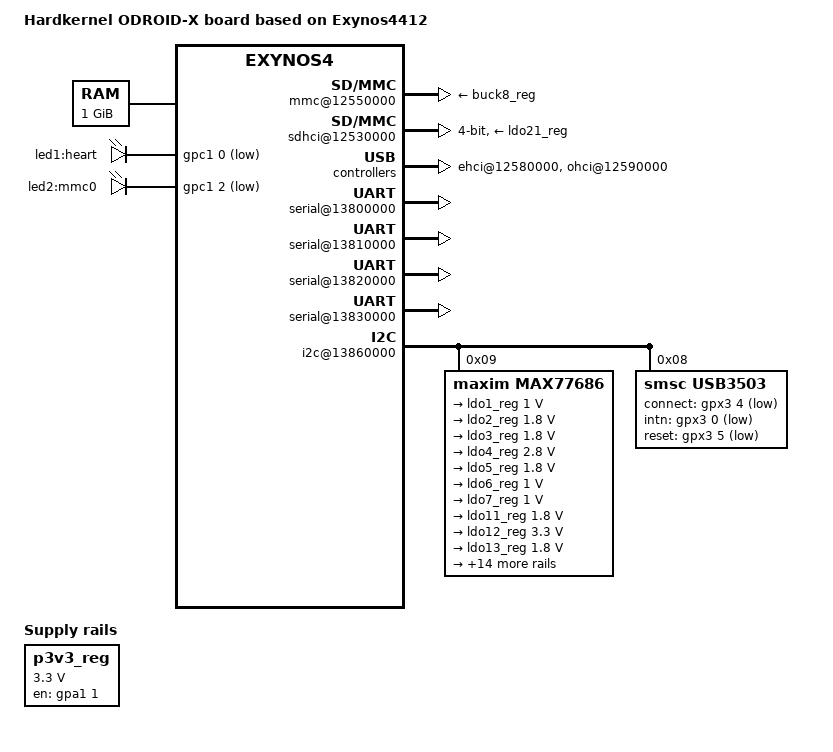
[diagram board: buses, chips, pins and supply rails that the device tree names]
/*
 * Hardkernel's Exynos4412 based ODROID-X board device tree source
 *
 * Copyright (c) 2012 Dongjin Kim <tobetter@gmail.com>
 *
 * Device tree source file for Hardkernel's ODROID-X board which is based on
 * Samsung's Exynos4412 SoC.
 *
 * This program is free software; you can redistribute it and/or modify
 * it under the terms of the GNU General Public License version 2 as
 * published by the Free Software Foundation.
*/

/dts-v1/;
#include "exynos4412.dtsi"

/ {
	model = "Hardkernel ODROID-X board based on Exynos4412";
	compatible = "hardkernel,odroid-x", "samsung,exynos4412", "samsung,exynos4";

	memory {
		reg = <0x40000000 0x40000000>;
	};

	chosen {
		bootargs = "root=/dev/mmcblk0p3 rw init=/sbin/init mem=1023M console=ttySAC1,115200N8 rootdelay=5 panic=5";
	};

	leds {
		compatible = "gpio-leds";
		led1 {
			label = "led1:heart";
			gpios = <&gpc1 0 1>;
			default-state = "on";
			linux,default-trigger = "heartbeat";
		};
		led2 {
			label = "led2:mmc0";
			gpios = <&gpc1 2 1>;
			default-state = "on";
			linux,default-trigger = "mmc0";
		};
	};

	mmc@12550000 {
		pinctrl-0 = <&sd4_clk &sd4_cmd &sd4_bus4 &sd4_bus8>;
		pinctrl-names = "default";
		vqmmc-supply = <&ldo20_reg>;
		vmmc-supply = <&buck8_reg>;
		status = "okay";

		num-slots = <1>;
		supports-highspeed;
		broken-cd;
		card-detect-delay = <200>;
		samsung,dw-mshc-ciu-div = <3>;
		samsung,dw-mshc-sdr-timing = <2 3>;
		samsung,dw-mshc-ddr-timing = <1 2>;

		slot@0 {
			reg = <0>;
			bus-width = <8>;
		};
	};

	regulators {
		compatible = "simple-bus";
		#address-cells = <1>;
		#size-cells = <0>;

		p3v3_reg: regulator_p3v3 {
			compatible = "regulator-fixed";
			regulator-name = "p3v3_reg";
			regulator-min-microvolt = <3300000>;
			regulator-max-microvolt = <3300000>;
			gpio = <&gpa1 1 0>;
			enable-active-high;
			regulator-always-on;
		};
	};

	rtc@10070000 {
		status = "okay";
	};

	fimd@11c00000 {
		pinctrl-0 = <&lcd_clk &lcd_data24>;
		pinctrl-names = "default";
		status = "okay";
	};

	display-timings {
		native-mode = <&timing0>;
		timing0: timing {
			clock-frequency = <500000>;
			hactive = <1366>;
			vactive = <768>;
			hfront-porch = <48>;
			hback-porch = <80>;
			hsync-len = <32>;
			vback-porch = <14>;
			vfront-porch = <3>;
			vsync-len = <5>;
			pixelclk-active = <1>;
			hsync-active = <1>;
			vsync-active = <1>;
			de-active = <0>;
		};
	};

	sdhci@12530000 {
		bus-width = <4>;
		pinctrl-0 = <&sd2_clk &sd2_cmd &sd2_cd &sd2_bus4>;
		pinctrl-names = "default";
		vqmmc-supply = <&ldo4_reg>;
		vmmc-supply = <&ldo21_reg>;
		status = "okay";
	};

	ehci@12580000 {
		status = "okay";
	};

	ohci@12590000 {
		status = "okay";
	};

	serial@13800000 {
		status = "okay";
	};

	serial@13810000 {
		status = "okay";
	};

	serial@13820000 {
		status = "okay";
	};

	serial@13830000 {
		status = "okay";
	};

	firmware@0x0204F000 {
		compatible = "samsung,secure-firmware";
		reg = <0x0204f0000 0x1000>;
	};

	fixed-rate-clocks {
		xxti {
			compatible = "samsung,clock-xxti";
			clock-frequency = <0>;
		};

		xusbxti {
			compatible = "samsung,clock-xusbxti";
			clock-frequency = <24000000>;
		};
	};

	i2c@13860000 {
		pinctrl-0 = <&i2c0_bus>;
		pinctrl-names = "default";
		status = "okay";

		max77686: pmic@09 {
			compatible = "maxim,max77686";
			reg = <0x09>;
			#clock-cells = <1>;

			voltage-regulators {
				ldo1_reg: LDO1 {
					regulator-name = "VDD_ALIVE_1.0V";
					regulator-min-microvolt = <1000000>;
					regulator-max-microvolt = <1000000>;
					regulator-always-on;
				};

				ldo2_reg: LDO2 {
					regulator-name = "VDDQ_M1_2_1.8V";
					regulator-min-microvolt = <1800000>;
					regulator-max-microvolt = <1800000>;
					regulator-always-on;
				};

				ldo3_reg: LDO3 {
					regulator-name = "VDDQ_EXT_1.8V";
					regulator-min-microvolt = <1800000>;
					regulator-max-microvolt = <1800000>;
					regulator-always-on;
				};

				ldo4_reg: LDO4 {
					regulator-name = "VDDQ_MMC2_2.8V";
					regulator-min-microvolt = <2800000>;
					regulator-max-microvolt = <2800000>;
					regulator-always-on;
					regulator-boot-on;
				};

				ldo5_reg: LDO5 {
					regulator-name = "VDDQ_MMC1_3_1.8V";
					regulator-min-microvolt = <1800000>;
					regulator-max-microvolt = <1800000>;
					regulator-always-on;
					regulator-boot-on;
				};

				ldo6_reg: LDO6 {
					regulator-name = "VDD10_MPLL_1.0V";
					regulator-min-microvolt = <1000000>;
					regulator-max-microvolt = <1000000>;
					regulator-always-on;
				};

				ldo7_reg: LDO7 {
					regulator-name = "VDD10_XPLL_1.0V";
					regulator-min-microvolt = <1000000>;
					regulator-max-microvolt = <1000000>;
					regulator-always-on;
				};

				ldo11_reg: LDO11 {
					regulator-name = "VDD18_ABB1_1.8V";
					regulator-min-microvolt = <1800000>;
					regulator-max-microvolt = <1800000>;
					regulator-always-on;
				};

				ldo12_reg: LDO12 {
					regulator-name = "VDD33_USB_3.3V";
					regulator-min-microvolt = <3300000>;
					regulator-max-microvolt = <3300000>;
					regulator-always-on;
					regulator-boot-on;
				};

				ldo13_reg: LDO13 {
					regulator-name = "VDDQ_C2C_W_1.8V";
					regulator-min-microvolt = <1800000>;
					regulator-max-microvolt = <1800000>;
					regulator-always-on;
					regulator-boot-on;
				};

				ldo14_reg: LDO14 {
					regulator-name = "VDD18_ABB0_2_1.8V";
					regulator-min-microvolt = <1800000>;
					regulator-max-microvolt = <1800000>;
					regulator-always-on;
					regulator-boot-on;
				};

				ldo15_reg: LDO15 {
					regulator-name = "VDD10_HSIC_1.0V";
					regulator-min-microvolt = <1000000>;
					regulator-max-microvolt = <1000000>;
					regulator-always-on;
					regulator-boot-on;
				};

				ldo16_reg: LDO16 {
					regulator-name = "VDD18_HSIC_1.8V";
					regulator-min-microvolt = <1800000>;
					regulator-max-microvolt = <1800000>;
					regulator-always-on;
					regulator-boot-on;
				};

				ldo20_reg: LDO20 {
					regulator-name = "LDO20_1.8V";
					regulator-min-microvolt = <1800000>;
					regulator-max-microvolt = <1800000>;
					regulator-boot-on;
				};

				ldo21_reg: LDO21 {
					regulator-name = "LDO21_3.3V";
					regulator-min-microvolt = <3300000>;
					regulator-max-microvolt = <3300000>;
				};

				ldo25_reg: LDO25 {
					regulator-name = "VDDQ_LCD_1.8V";
					regulator-min-microvolt = <1800000>;
					regulator-max-microvolt = <1800000>;
					regulator-always-on;
					regulator-boot-on;
				};

				buck1_reg: BUCK1 {
					regulator-name = "vdd_mif";
					regulator-min-microvolt = <1000000>;
					regulator-max-microvolt = <1000000>;
					regulator-always-on;
					regulator-boot-on;
				};

				buck2_reg: BUCK2 {
					regulator-name = "vdd_arm";
					regulator-min-microvolt = <900000>;
					regulator-max-microvolt = <1350000>;
					regulator-always-on;
					regulator-boot-on;
				};

				buck3_reg: BUCK3 {
					regulator-name = "vdd_int";
					regulator-min-microvolt = <1000000>;
					regulator-max-microvolt = <1000000>;
					regulator-always-on;
					regulator-boot-on;
				};

				buck4_reg: BUCK4 {
					regulator-name = "vdd_g3d";
					regulator-min-microvolt = <900000>;
					regulator-max-microvolt = <1100000>;
					regulator-microvolt-offset = <50000>;
				};

				buck5_reg: BUCK5 {
					regulator-name = "VDDQ_CKEM1_2_1.2V";
					regulator-min-microvolt = <1200000>;
					regulator-max-microvolt = <1200000>;
					regulator-always-on;
					regulator-boot-on;
				};

				buck6_reg: BUCK6 {
					regulator-name = "BUCK6_1.35V";
					regulator-min-microvolt = <1350000>;
					regulator-max-microvolt = <1350000>;
					regulator-always-on;
					regulator-boot-on;
				};

				buck7_reg: BUCK7 {
					regulator-name = "BUCK7_2.0V";
					regulator-min-microvolt = <2000000>;
					regulator-max-microvolt = <2000000>;
					regulator-always-on;
				};

				buck8_reg: BUCK8 {
					regulator-name = "BUCK8_2.8V";
					regulator-min-microvolt = <2800000>;
					regulator-max-microvolt = <2800000>;
					regulator-always-on;
				};
			};
		};

		usb3503@08 {
			compatible = "smsc,usb3503";
			reg = <0x08>;
			connect-gpios = <&gpx3 4 1>;
			intn-gpios = <&gpx3 0 1>;
			reset-gpios = <&gpx3 5 1>;
			initial-mode = <1>;
		};
	};
};
